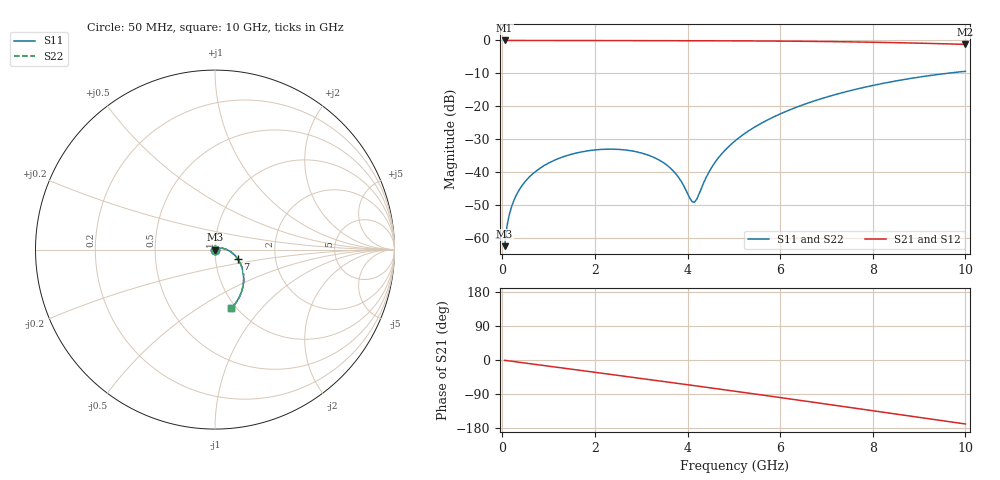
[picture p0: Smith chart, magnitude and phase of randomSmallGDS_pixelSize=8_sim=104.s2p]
! freq	dB(S11)	phase(S11)	dB(S12)	phase(S12)
!  dB(S21)	phase(S21)	dB(S22)	phase(S22)
!S-par simulation data
#  GHz  S  DB  R 50
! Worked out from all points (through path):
!   200 points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, 50 MHz to 10 GHz, reference 50 ohm
!   highest |S21| = 0.00 dB at 50 MHz (marker M1); lowest = -1.2 dB at 10 GHz (marker M2)
!   group delay of S21, straight-line fit = 47 ps
!   lowest |S11| = -62.6 dB at 50 MHz (marker M3), VSWR 1.00, Z = 50 - j0.0743 ohm
!   |S11| at or under -10 dB: start of sweep to 9.606 GHz
!   |S22| runs from -62.6 to -9.4 dB; largest |S21 - S12| = 0
!   S11 on the Smith chart (normalised r, x): 50 MHz: 1.00, -0.00; 7 GHz: 1.28, -0.14; 10 GHz: 0.95, -0.70
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0.05  -62.58 -89.3  -0.00 -0.8  -0.00 -0.8  -62.59 -89.3
0.1  -56.58 -91.1  -0.00 -1.6  -0.00 -1.6  -56.58 -91.1
0.2  -50.59 -93.5  -0.00 -3.3  -0.00 -3.3  -50.59 -93.5
0.35  -45.81 -96.5  -0.00 -5.7  -0.00 -5.7  -45.81 -96.5
0.5  -42.82 -99.2  -0.01 -8.2  -0.01 -8.2  -42.82 -99.2
1  -37.30 -108.0  -0.02 -16.3  -0.02 -16.3  -37.30 -108.0
1.75  -33.80 -121.2  -0.03 -28.4  -0.03 -28.4  -33.80 -121.2
2.65  -33.31 -137.8  -0.05 -43.0  -0.05 -43.0  -33.31 -137.9
3.05  -34.42 -146.1  -0.06 -49.6  -0.06 -49.6  -34.42 -146.3
3.4  -36.49 -155.0  -0.06 -55.3  -0.06 -55.3  -36.48 -155.2
3.75  -40.63 -169.2  -0.07 -61.1  -0.07 -61.1  -40.60 -169.7
4.05  -47.99 148.0  -0.08 -66.1  -0.08 -66.1  -47.81 147.2
4.15  -49.21 107.8  -0.08 -67.7  -0.08 -67.7  -48.95 108.0
4.55  -37.99 34.0  -0.10 -74.4  -0.10 -74.4  -37.96 34.6
4.75  -34.30 25.1  -0.11 -77.8  -0.11 -77.8  -34.28 25.5
5.05  -30.27 16.2  -0.12 -82.8  -0.12 -82.8  -30.26 16.5
5.75  -24.02 0.9  -0.17 -94.8  -0.17 -94.8  -24.02 1.1
6.7  -18.57 -17.0  -0.28 -111.2  -0.28 -111.2  -18.57 -16.8
7  -17.24 -22.4  -0.33 -116.4  -0.33 -116.4  -17.24 -22.3
8.35  -12.70 -46.4  -0.63 -140.1  -0.63 -140.1  -12.70 -46.3
9.15  -10.84 -60.3  -0.88 -154.1  -0.88 -154.1  -10.84 -60.2
10  -9.38 -74.7  -1.18 -168.8  -1.18 -168.8  -9.38 -74.6
